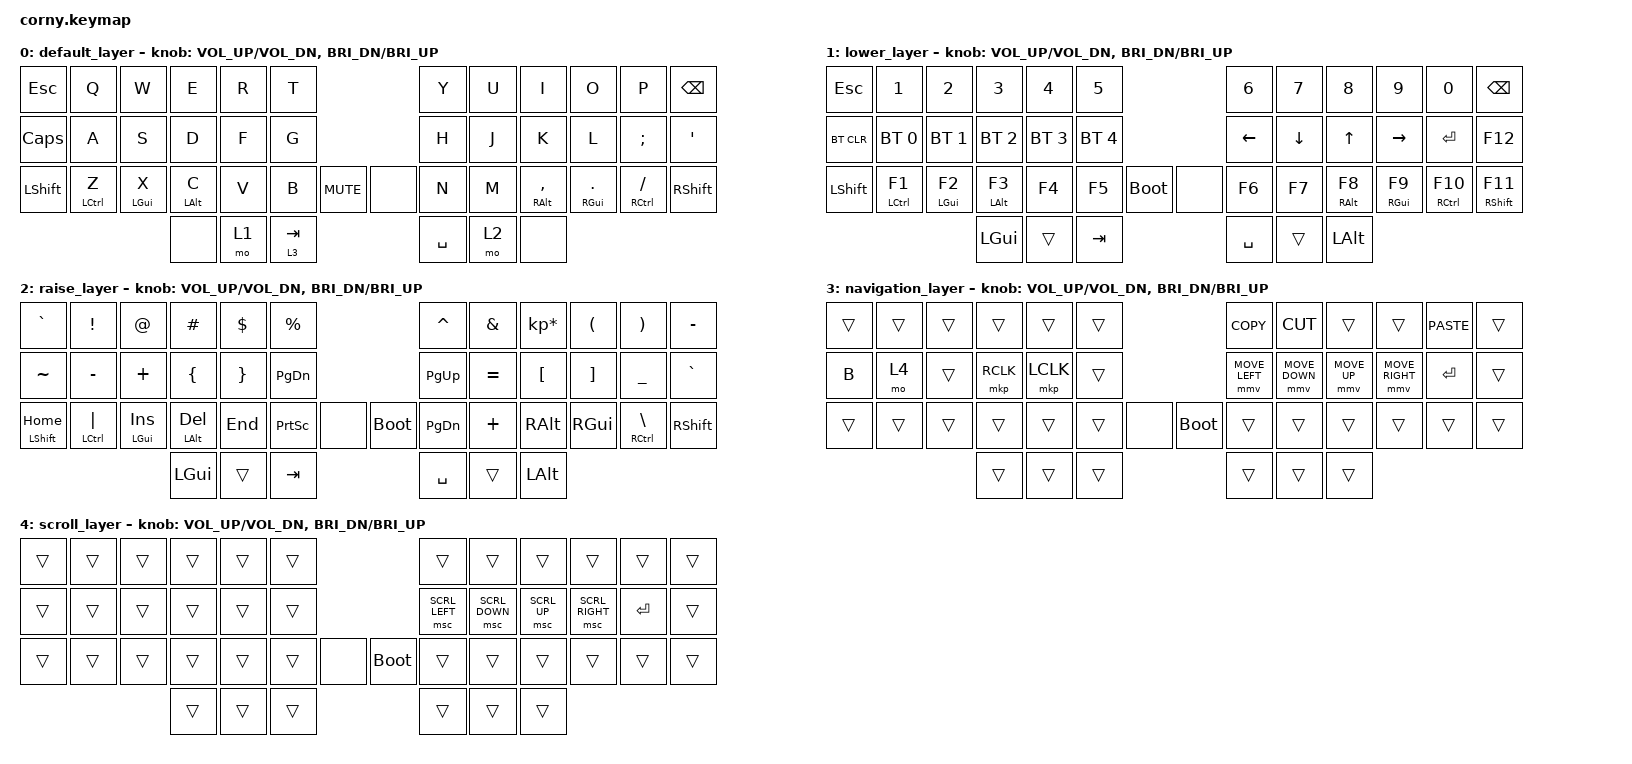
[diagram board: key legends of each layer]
#include <behaviors.dtsi>
#include <dt-bindings/zmk/keys.h>
#include <dt-bindings/zmk/bt.h>
#include <dt-bindings/zmk/mouse.h>
#include <behaviors/mouse_keys.dtsi>

#define U_MOUSE_MOVE_MAX 10000
#define U_MOUSE_SCROLL_MAX 10000

&mt {
    flavor = "balanced";
};

&mmv {
    time-to-max-speed-ms = <100>;
};

&msc {
   time-to-max-speed-ms = <100>;
};

/ {
        keymap {
                compatible = "zmk,keymap";

                default_layer {
// -------------------------------------------------------------------------------------------------
// | ESC  |  Q  |  W  |  E  |  R  |  T  |                    |  Y  |  U  |  I   |  O  |  P  | BKSP |
// | CAPS |  A  |  S  |  D  |  F  |  G  |                    |  H  |  J  |  K   |  L  |  ;  |  '   |
// | SHFT |  Z  |  X  |  C  |  V  |  B  |  MUTE  |  |        |  N  |  M  |  ,   |  .  |  /  | SHFT |
//                    | GUI | LWR | TAB |                    | SPC | RSE | ALT |
                        bindings = <
&kp ESC   &kp Q        &kp W       &kp E      &kp R &kp T                   &kp Y &kp U  &kp I          &kp O        &kp P          &kp BSPC
&kp CAPS  &kp A        &kp S       &kp D      &kp F &kp G                   &kp H &kp J  &kp K          &kp L        &kp SEMI       &kp SQT
&kp LSHFT &mt LCTRL Z  &mt LGUI X  &mt LALT C &kp V &kp B &kp C_MUTE  &none &kp N &kp M  &mt RALT COMMA &mt RGUI DOT &mt RCTRL FSLH &kp RSHFT
                                      &none &mo 1 &lt 3 TAB              &kp SPACE &mo 2 &none
                        >;
                        sensor-bindings = <&inc_dec_kp C_VOL_UP C_VOL_DN &inc_dec_kp C_BRI_DN C_BRI_UP>;
                };
                lower_layer {
// ------------------------------------------------------------------------------------------------
// | ESC  |  1  |  2  |  3  |  4  |  5  |                    |  6  |  7  |  8  |  9  |  0  | BKSP |
// | BTCLR| BT1 | BT2 | BT3 | BT4 | BT5 |                    | LFT | DWN |  UP | RGT | RET | F12  |
// | SHFT | F1  | F2  | F3  | F4  | F5  |  boot  |  |        |  F6 | F7  |  F8 | F9  | F10 | F11  |
//                    | GUI |     | TAB |                    | SPC |     | ALT |
                        bindings = <
&kp ESC    &kp N1       &kp N2       &kp N3       &kp N4       &kp N5                           &kp N6     &kp N7   &kp N8      &kp N9      &kp N0        &kp BSPC
&bt BT_CLR &bt BT_SEL 0 &bt BT_SEL 1 &bt BT_SEL 2 &bt BT_SEL 3 &bt BT_SEL 4                     &kp LEFT   &kp DOWN &kp UP      &kp RIGHT   &kp RET       &kp F12
&kp LSHFT  &mt LCTRL F1 &mt LGUI F2  &mt LALT F3  &kp F4       &kp F5       &bootloader  &none  &kp F6     &kp F7   &mt RALT F8 &mt RGUI F9 &mt RCTRL F10 &mt RSHFT F11
                                    &kp LGUI     &trans       &kp TAB                              &kp SPACE  &trans   &kp LALT
                        >;
                        sensor-bindings = <&inc_dec_kp C_VOL_UP C_VOL_DN &inc_dec_kp C_BRI_DN C_BRI_UP>;
                };
                raise_layer {
// ------------------------------------------------------------------------------------------------
// |  `   |  !  |  @  |  #  |  $  |  %  |                    |  ^  |  &  |  *  |  (  |  )  |  -   |
// |  ~   |  -  |  +  |  {  |  }  | PGDN|                    | PGUP|  =  |  [  |  ]  |  _  |  `   |
// | HOME |  |  | INS | DEL | END |PSCRN|        |  |  boot  | PGDN|  +  | ALT | GUI | "\" | SHFT |
//                    | GUI |     | TAB |                    | SPC |     | ALT |
                        bindings = <
&kp GRAVE      &kp EXCL       &kp AT       &kp HASH     &kp DLLR &kp PRCNT                       &kp CARET &kp AMPS  &kp KP_MULTIPLY &kp LPAR  &kp RPAR       &kp MINUS
&kp TILDE      &kp MINUS      &kp PLUS     &kp LBRC     &kp RBRC &kp PG_DN                       &kp PG_UP &kp EQUAL &kp LBKT        &kp RBKT  &kp UNDER      &kp GRAVE
&mt LSHFT HOME &mt LCTRL PIPE &mt LGUI INS &mt LALT DEL &kp END  &kp PSCRN    &none  &bootloader &kp PG_DN &kp PLUS  &kp RALT        &kp RGUI  &mt RCTRL BSLH &kp RSHFT
                             &kp LGUI &trans   &kp TAB                      &kp SPACE   &trans  &kp LALT
                        >;
                        sensor-bindings = <&inc_dec_kp C_VOL_UP C_VOL_DN &inc_dec_kp C_BRI_DN C_BRI_UP>;
                };
                navigation_layer {
                        bindings = <
&trans  &trans  &trans  &trans      &trans    &trans                         &kp K_COPY      &kp K_CUT       &trans        &trans            &kp K_PASTE  &trans 
&kp B   &mo 4   &trans  &mkp RCLK   &mkp LCLK &trans                         &mmv MOVE_LEFT  &mmv MOVE_DOWN  &mmv MOVE_UP  &mmv MOVE_RIGHT   &kp RET      &trans 
&trans  &trans  &trans  &trans      &trans    &trans     &none  &bootloader  &trans          &trans          &trans        &trans            &trans       &trans 
                        &trans      &trans    &trans                         &trans          &trans          &trans
                        >;
                        sensor-bindings = <&inc_dec_kp C_VOL_UP C_VOL_DN &inc_dec_kp C_BRI_DN C_BRI_UP>;
                };
                scroll_layer {
                        bindings = <
&trans  &trans  &trans  &trans      &trans    &trans                         &trans          &trans          &trans        &trans            &trans    &trans 
&trans  &trans  &trans  &trans      &trans    &trans                         &msc SCRL_LEFT  &msc SCRL_DOWN  &msc SCRL_UP  &msc SCRL_RIGHT   &kp RET   &trans 
&trans  &trans  &trans  &trans      &trans    &trans     &none  &bootloader  &trans          &trans          &trans        &trans            &trans    &trans 
                        &trans      &trans    &trans                         &trans          &trans          &trans
                        >;
                        sensor-bindings = <&inc_dec_kp C_VOL_UP C_VOL_DN &inc_dec_kp C_BRI_DN C_BRI_UP>;
                };
        };
};
